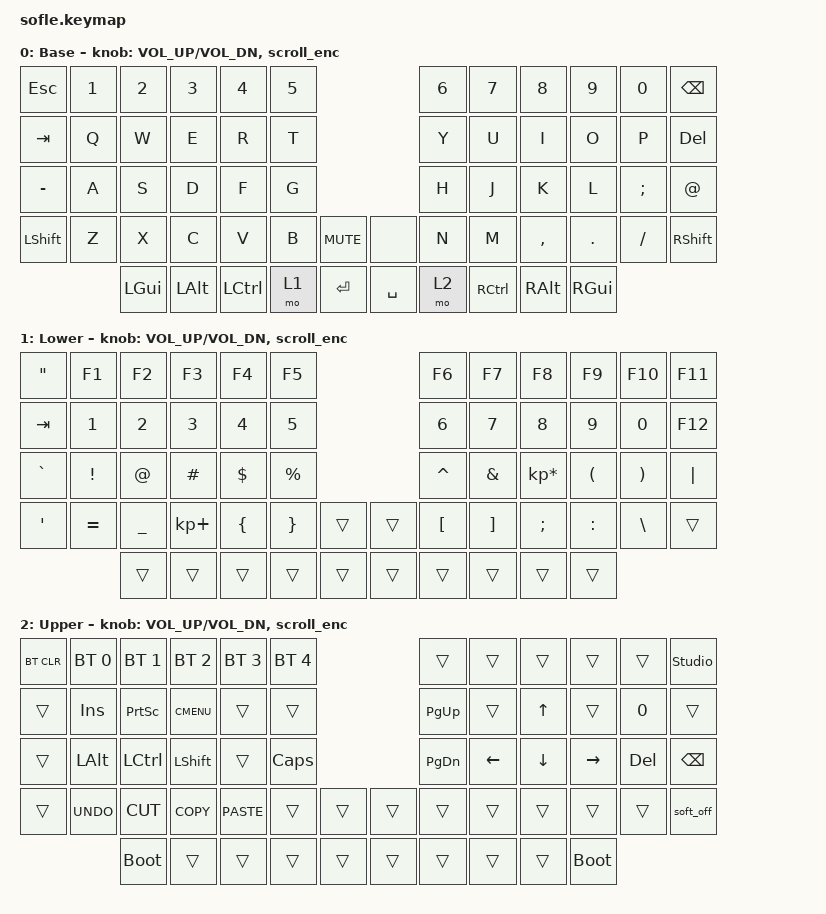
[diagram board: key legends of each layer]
/*
 * Copyright (c) 2020 The ZMK Contributors
 *
 * SPDX-License-Identifier: MIT
 */

#include <behaviors.dtsi>
#include <dt-bindings/zmk/keys.h>
#include <dt-bindings/zmk/bt.h>

// Encoder clicks are short taps, so scroll fast enough that each one moves 1-2 lines
#define ZMK_POINTING_DEFAULT_SCRL_VAL 70
#include <dt-bindings/zmk/pointing.h>

/ {
    behaviors {
        // Right encoder: clockwise scrolls down, anticlockwise scrolls up
        scroll_enc: scroll_encoder {
            compatible = "zmk,behavior-sensor-rotate";
            #sensor-binding-cells = <0>;
            bindings = <&msc SCRL_DOWN>, <&msc SCRL_UP>;
            tap-ms = <30>;
        };
    };
};

/ {
    keymap {
        compatible = "zmk,keymap";

        default_layer {
            display-name = "Base";
// ------------------------------------------------------------------------------------------------------------
// |  ESC  |  1  |  2  |  3   |  4   |  5   |                   |  6   |  7    |  8    |  9   |   0   | BKSPC  |
// |  TAB  |  Q  |  W  |  E   |  R   |  T   |                   |  Y   |  U    |  I    |  O   |   P   |  DEL  |
// | Minus |  A  |  S  |  D   |  F   |  G   |                   |  H   |  J    |  K    |  L   |   ;   |   @   |
// | SHIFT |  Z  |  X  |  C   |  V   |  B   |  MUTE  |  |       |  N   |  M    |  ,    |  .   |   /   | SHIFT |
//               | GUI | ALT  | CTRL | LOWER|  ENTER |  | SPACE | RAISE| CTRL  | ALT   | GUI  |
            bindings = <
&kp ESC   &kp N1 &kp N2   &kp N3   &kp N4    &kp N5                      &kp N6 &kp N7    &kp N8    &kp N9   &kp N0   &kp BSPC
&kp TAB   &kp Q  &kp W    &kp E    &kp R     &kp T                       &kp Y  &kp U     &kp I     &kp O    &kp P    &kp DEL
&kp MINUS &kp A  &kp S    &kp D    &kp F     &kp G                       &kp H  &kp J     &kp K     &kp L    &kp SEMI &kp AT_SIGN
&kp LSHFT &kp Z  &kp X    &kp C    &kp V     &kp B  &kp C_MUTE &none     &kp N  &kp M     &kp COMMA &kp DOT  &kp FSLH &kp RSHFT
                 &kp LGUI &kp LALT &kp LCTRL &mo 1  &kp RET    &kp SPACE &mo 2  &kp RCTRL &kp RALT  &kp RGUI
            >;

            sensor-bindings = <&inc_dec_kp C_VOL_UP C_VOL_DN &scroll_enc>;
        };

        lower_layer {
            display-name = "Lower";
// TODO: Some binds are waiting for shifted keycode support.
// ------------------------------------------------------------------------------------------------------------
// |   "   |  F1 |  F2 |  F3  |  F4  |  F5  |                   |  F6  |  F7   |  F8   |  F9  |  F10  |  F11  |
// |  TAB  |   1 |   2 |   3  |   4  |   5  |                   |   6  |   7   |   8   |   9  |    0  |  F12  |
// |   `   |  !  |  @  |  #   |  $   |  %   |                   |  ^   |  &    |  *    |  (   |   )   |   |   |
// |   '   |  =  |  _  |  +   |  {   |  }   |        |  |       |  [   |  ]    |  ;    |  :   |   \   |       |
//               |     |      |      |      |        |  |       |      |       |       |      |
            bindings = <
&kp DQT   &kp F1    &kp F2    &kp F3      &kp F4    &kp F5                    &kp F6    &kp F7   &kp F8          &kp F9    &kp F10   &kp F11
&kp TAB   &kp N1    &kp N2    &kp N3      &kp N4    &kp N5                    &kp N6    &kp N7   &kp N8          &kp N9    &kp N0    &kp F12
&kp GRAVE &kp EXCL  &kp AT    &kp HASH    &kp DLLR  &kp PRCNT                 &kp CARET &kp AMPS &kp KP_MULTIPLY &kp LPAR  &kp RPAR  &kp PIPE
&kp SQT   &kp EQUAL &kp UNDER &kp KP_PLUS &kp LBRC  &kp RBRC  &trans   &trans &kp LBKT  &kp RBKT &kp SEMI        &kp COLON &kp BSLH  &trans
                    &trans    &trans      &trans    &trans    &trans   &trans &trans    &trans   &trans          &trans
            >;

            sensor-bindings = <&inc_dec_kp C_VOL_UP C_VOL_DN &scroll_enc>;
        };

        raise_layer {
            display-name = "Upper";
// ------------------------------------------------------------------------------------------------------------
// |BTCLR| BT1  | BT2  |  BT3  |  BT4  |  BT5 |                |      |      |       |      |       |STUDIO |
// |     | INS  | PSCR | GUI   |       |      |                | PGUP |      |   ^   |      |       |       |
// |     | ALT  | CTRL | SHIFT |       | CAPS |                | PGDN |   <- |   v   |  ->  |  DEL  | BKSPC |
// |     | UNDO | CUT  | COPY  | PASTE |      |      |  |      |      |      |       |      |       | S OFF |
//              | BLD  |       |       |      |      |  |      |      |      |       | BLD  |
            bindings = <
&bt BT_CLR &bt BT_SEL 0 &bt BT_SEL 1 &bt BT_SEL 2 &bt BT_SEL 3 &bt BT_SEL 4             &trans    &trans    &trans   &trans    &trans  &studio_unlock
&trans     &kp INS      &kp PSCRN    &kp K_CMENU  &trans       &trans                   &kp PG_UP &trans    &kp UP   &trans    &kp N0  &trans
&trans     &kp LALT     &kp LCTRL    &kp LSHFT    &trans       &kp CLCK                 &kp PG_DN &kp LEFT  &kp DOWN &kp RIGHT &kp DEL &kp BSPC
&trans     &kp K_UNDO   &kp K_CUT    &kp K_COPY   &kp K_PASTE  &trans  &trans   &trans  &trans    &trans    &trans   &trans    &trans  &soft_off
                        &bootloader  &trans       &trans       &trans  &trans   &trans  &trans    &trans    &trans   &bootloader
            >;

            sensor-bindings = <&inc_dec_kp C_VOL_UP C_VOL_DN &scroll_enc>;
        };
    };
};
